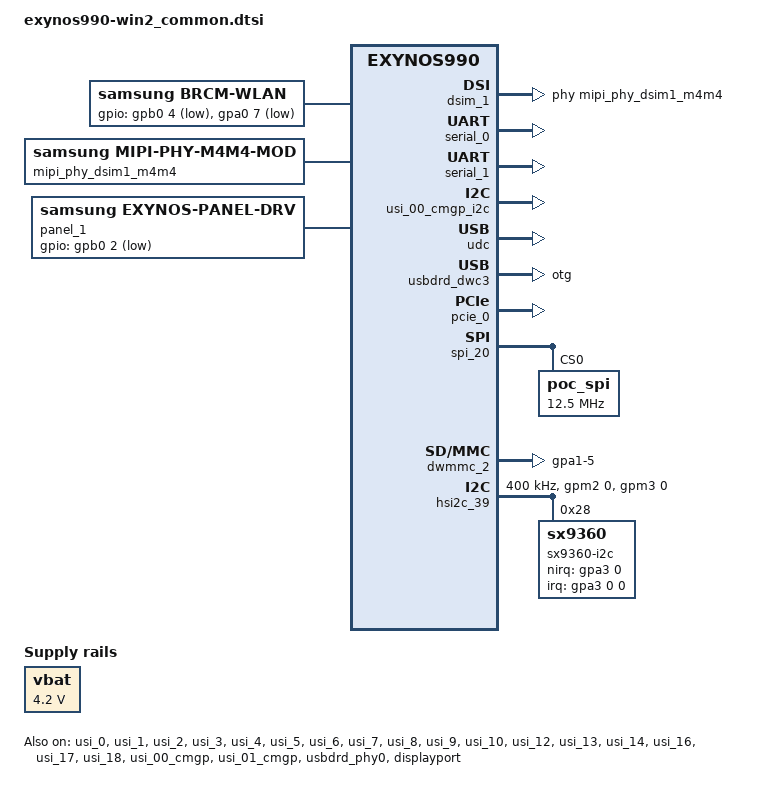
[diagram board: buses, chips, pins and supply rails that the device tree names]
/*
 * SAMSUNG EXYNOS990 board device tree source
 *
 * Copyright (c) 2019 Samsung Electronics Co., Ltd.
 *		http://www.samsung.com
 *
 * This program is free software; you can redistribute it and/or modify
 * it under the terms of the GNU General Public License version 2 as
 * published by the Free Software Foundation.
*/

#include <dt-bindings/clock/exynos9830.h>
#include "battery_data_hubble_common.dtsi"
#include "exynos9830-universal9830_if-pmic-max77705.dtsi"
#include <dt-bindings/pci/pci.h>
//#include "exynos9830-picasso2_camera.dtsi"
#include "exynos9830-picasso2lte_mst_r00.dtsi"
#include "exynos9830-win2_sound.dtsi"
#include "exynos9830-win2_input_common.dtsi"
#include "exynos9830-hubble_vib.dtsi"
#include <dt-bindings/interrupt-controller/arm-gic.h>
#include <dt-bindings/interrupt-controller/exynos9830.h>
#include <dt-bindings/display/exynos-display.h>
#include <dt-bindings/clock/exynos9830.h>
#include "../exynos/exynos9830-display-lcd.dtsi"

/ {
	compatible = "samsung,exynos990", "samsung,UNIVERSAL990";

	fragment@model {
		target-path = "/";

		__overlay__ {
			#address-cells = <2>;
			#size-cells = <1>;

			fixed-rate-clocks {
				oscclk {
					compatible = "samsung,exynos9830-oscclk";
					clock-frequency = <26000000>;
				};
			};

			exynos_rgt {
				compatible = "samsung,exynos-rgt";
				num-acpm-pmic = <2>;
			};

			exynos_pm_dvs {
				compatible = "samsung,exynos-pm-dvs";
				vdd_lldo1 {
					regulator_name = "m_vdd_buck9";
					suspend_volt = <800000>;
					init_volt = <850000>;
					volt_range_step = <62500>;
				};

				vdd_lldo2 {
					regulator_name = "m_vdd_buck10";
					suspend_volt = <900000>;
					init_volt = <950000>;
					volt_range_step = <62500>;
				};

				vdd_lldo3 {
					regulator_name = "m_vdd_buck11";
					suspend_volt = <1250000>;
					init_volt = <1350000>;
					volt_range_step = <62500>;
				};
				vdd_mldo {
					regulator_name = "m_vdd_buck12";
					suspend_volt = <1850000>;
					init_volt = <2000000>;
					volt_range_step = <12500>;
				};
			};

			usb_hs_tune:hs_tune {
				status = "disabled";
				hs_tune_cnt = <5>;
				/* value = <device host> */
				hs_tune1 {
					tune_name = "tx_pre_emp";
					tune_value = <0x3 0x3>;
				};

				hs_tune2 {
					tune_name = "tx_vref";
					tune_value = <0xe 0xe>;
				};

				hs_tune3 {
					tune_name = "rx_sqrx";
					tune_value = <0x4 0x4>;
				};

				hs_tune4 {
					tune_name = "utmi_clk";
					tune_value = <0x1 0x1>;
				};

				hs_tune5 {
					tune_name = "compdis";
					tune_value = <0x7 0x7>;
				};
			};

			usb_ss_tune:ss_tune {
				status = "disabled";
				ss_tune_cnt = <36>;
				/* value = <device host> */
				/* 0xffffffff means using default value */
				ss_tune1 {
					tune_name = "ssrx_sqhs_th_ss";
					tune_value = <0xffffffff 0xffffffff>;
				};

				ss_tune2 {
					tune_name = "ssrx_sqhs_th_ssp";
					tune_value = <0xffffffff 0xffffffff>;
				};

				ss_tune3 {
					tune_name = "ssrx_lfps_th";
					tune_value = <0xffffffff 0xffffffff>;
				};

				ss_tune4 {
					tune_name = "ssrx_adap_coef_sel";
					tune_value = <0xffffffff 0xffffffff>;
				};

				ss_tune5 {
					tune_name = "ssrx_mf_eq_psel_ctrl_ss";
					tune_value = <0xffffffff 0xffffffff>;
				};

				ss_tune6 {
					tune_name = "ssrx_mf_eq_psel_ctrl_ssp";
					tune_value = <0xffffffff 0xffffffff>;
				};

				ss_tune7 {
					tune_name = "ssrx_mf_eq_zsel_ctrl_ss";
					tune_value = <0xffffffff 0xffffffff>;
				};

				ss_tune8 {
					tune_name = "ssrx_mf_eq_zsel_ctrl_ssp";
					tune_value = <0xffffffff 0xffffffff>;
				};

				ss_tune9 {
					tune_name = "ssrx_hf_eq_rsel_ctrl_ss";
					tune_value = <0xffffffff 0xffffffff>;
				};

				ss_tune10 {
					tune_name = "ssrx_hf_eq_rsel_ctrl_ssp";
					tune_value = <0xffffffff 0xffffffff>;
				};

				ss_tune11 {
					tune_name = "ssrx_hf_eq_csel_ctrl_ss";
					tune_value = <0xffffffff 0xffffffff>;
				};

				ss_tune12 {
					tune_name = "ssrx_hf_eq_csel_ctrl_ssp";
					tune_value = <0xffffffff 0xffffffff>;
				};

				ss_tune13 {
					tune_name = "ssrx_dfe_1tap_ctrl_ss";
					tune_value = <0xffffffff 0xffffffff>;
				};

				ss_tune14 {
					tune_name = "ssrx_dfe_1tap_ctrl_ssp";
					tune_value = <0xffffffff 0xffffffff>;
				};

				ss_tune15 {
					tune_name = "ssrx_dfe_2tap_ctrl_ss";
					tune_value = <0xffffffff 0xffffffff>;
				};

				ss_tune16 {
					tune_name = "ssrx_dfe_2tap_ctrl_ssp";
					tune_value = <0xffffffff 0xffffffff>;
				};

				ss_tune17 {
					tune_name = "ssrx_dfe_3tap_ctrl_ss";
					tune_value = <0xffffffff 0xffffffff>;
				};

				ss_tune18 {
					tune_name = "ssrx_dfe_3tap_ctrl_ssp";
					tune_value = <0xffffffff 0xffffffff>;
				};

				ss_tune19 {
					tune_name = "ssrx_dfe_4tap_ctrl_ss";
					tune_value = <0xffffffff 0xffffffff>;
				};

				ss_tune20 {
					tune_name = "ssrx_dfe_4tap_ctrl_ssp";
					tune_value = <0xffffffff 0xffffffff>;
				};

				ss_tune21 {
					tune_name = "ssrx_dfe_5tap_ctrl_ss";
					tune_value = <0xffffffff 0xffffffff>;
				};

				ss_tune22 {
					tune_name = "ssrx_dfe_5tap_ctrl_ssp";
					tune_value = <0xffffffff 0xffffffff>;
				};

				ss_tune23 {
					tune_name = "ssrx_term_cal";
					tune_value = <0xffffffff 0xffffffff>;
				};

				ss_tune24 {
					tune_name = "sstx_amp_ss";
					tune_value = <0xffffffff 0xffffffff>;
				};

				ss_tune25 {
					tune_name = "sstx_deemp_ss";
					tune_value = <0xffffffff 0xffffffff>;
				};

				ss_tune26 {
					tune_name = "sstx_pre_shoot_ss";
					tune_value = <0xffffffff 0xffffffff>;
				};

				ss_tune27 {
					tune_name = "sstx_amp_ssp";
					tune_value = <0xffffffff 0xffffffff>;
				};

				ss_tune28 {
					tune_name = "sstx_deemp_ssp";
					tune_value = <0xffffffff 0xffffffff>;
				};

				ss_tune29 {
					tune_name = "sstx_pre_shoot_ssp";
					tune_value = <0xffffffff 0xffffffff>;
				};

				ss_tune30 {
					tune_name = "sstx_idrv_up";
					tune_value = <0xffffffff 0xffffffff>;
				};

				ss_tune31 {
					tune_name = "sstx_lfps_idrv_up";
					tune_value = <0xffffffff 0xffffffff>;
				};

				ss_tune32 {
					tune_name = "sstx_up_term";
					tune_value = <0xffffffff 0xffffffff>;
				};

				ss_tune33 {
					tune_name = "sstx_dn_term";
					tune_value = <0xffffffff 0xffffffff>;
				};

				ss_tune34 {
					tune_name = "rext_ovrd";
					tune_value = <0xffffffff 0xffffffff>;
				};

				ss_tune35 {
					tune_name = "ssrx_cdr_fbb_fine_ctrl_sp";
					tune_value = <0xffffffff 0xffffffff>;
				};

				ss_tune36 {
					tune_name = "ssrx_cdr_fbb_fine_ctrl_ssp";
					tune_value = <0xffffffff 0xffffffff>;
				};
			};

			usb_notifier {
				compatible = "samsung,usb-notifier";
				udc = <&udc>;

				usb-ldocontrol = <4>; /* Exynos9830 */
				disable_host_wakelock;
			};

			wlan {
				compatible = "samsung,brcm-wlan";
				gpios = <&gpb0 4 0x1 /* WLAN_EN */
					&gpa0 7 0x1 /* WLAN HOST WAKE GPIO_0 */>;
				pinctrl-names = "default";
				pinctrl-0 = <&cfg_wlanen &wlan_host_wake>;
				status = "okay";
			};

			vbat: vbat {
				compatible = "regulator-fixed";
				regulator-name = "VBAT";
				regulator-min-microvolt = <4200000>;
				regulator-max-microvolt = <4200000>;
				regulator-boot-on;
			};

			folder_hall {
				status = "okay";
				compatible = "folder_hall";
				pinctrl-names = "default";
				pinctrl-0 = <&folder_hall_irq>;
				folder_hall,gpio_folder = <&gpa0 2 1>;
			};

			certify_hall {
				status = "okay";
				compatible = "certify_hall";
				pinctrl-names = "default";
				pinctrl-0 = <&certify_hall_irq>;
				certify_hall,gpio_certify_cover = <&gpa3 6 1>;
			};

			argos {
				compatible = "samsung,argos";
				#address-cells = <1>;
				/*  The device number should be assigned for each device, e.g. "boot_device_0" and "boot_device_1".
				 * Duplicated number is not allowed. Please refer the below example.
				 */

				/* Table Format
				 * threshold : throughput threshold(Mbps)
				 * big_min : Big Core's minimum frequency lock. 0 means not set,
				 * big_max : Big Core's maximum frequency lock. 0 means not set,
				 * mid_min : Middle Core's minimum frequency lock. 0 means not set,
				 * mid_max : Middle Core's maximum frequency lock. 0 means not set,
				 * lit_min : Little Core's minimum frequency lock. 0 means not set,
				 * lit_max : Little Core's maximum frequency lock. 0 means not set,
				 * mif : MIF frequency lock. 0 means not set,
				 * int : INT frequency lock. 0 means not set,
				 * task_affinity : "enabled" - Set task affinity lock.
				 *	           "disable" - Not set or unlock,
				 *		   Task affinity should be predefined driver's code.
				 * irq_affinity : "enabled" - Set irq affinity lock.
				 *                "disable" - Not set or unlock,
				 *		  IRQ affinity should be predefined driver's code.
				 * hmp_boot : "enabled" - Increase hmp boosting count
				 *            "disable" - Decrease hmp boosting count
				 * pcie_lane : the number of PCIe lanes
				 */

				boot_device_0 {
					net_boost,label="UFS";
					net_boost,node="";
					net_boost,sysnode="/sys/class/scsi_host/host0/transferred_cnt";
					net_boost,table {
						level_0 {
							threshold = <112>; /* Mbps */
							lit_min = <1456000>;
							mif = <1352000>;
						};
						level_1 {
							threshold = <800>; /* Mbps */
							mid_min = <1066000>;
							lit_min = <1456000>;
							mif = <1539000>;
							hmp_boost = "enable";
						};
					};
				};
				boot_device@1 {
					net_boost,label="IPC";
					net_boost,node="rmnet0 rmnet1 rmnet2 rmnet3 rmnet4 rmnet5 rmnet6 rmnet7 umts_dm0";
					net_boost,table {
						level_0 {
							threshold = <100>;
							lit_min = <1053000>;
							mif = <845000>;
						};
						level_1 {
							threshold = <150>;
							lit_min = <1300000>;
							mif = <1014000>;
						};
						level_2 {
							threshold = <200>;
							mid_min = <1352000>;
							lit_min = <1742000>;
							mif = <1794000>;
						};
						level_3 {
							threshold = <250>;
							mid_min = <1898000>;
							lit_min = <1742000>;
							mif = <2093000>;
						};
						level_4 {
							threshold = <700>;
							mid_min = <1898000>;
							lit_min = <1742000>;
							mif = <2093000>;
						};
						level_5 {
							threshold = <800>;
							mid_min = <1898000>;
							lit_min = <1742000>;
							mif = <2093000>;
						};
						level_6 {
							threshold = <1500>;
							mid_min = <1898000>;
							lit_min = <1742000>;
							mif = <2093000>;
						};
						level_7 {
							threshold = <1600>;
							mid_min = <1898000>;
							lit_min = <1742000>;
							mif = <2093000>;
						};
					};
				};
				boot_device@2 {
					net_boost,label="CLAT";
					net_boost,node="clat clat4 v4-rmnet0 v4-rmnet1 v4-rmnet2 v4-rmnet3 v4-rmnet4 v4-rmnet5 v4-rmnet6 v4-rmnet7";
					net_boost,table {
						level_0 {
							threshold = <100>;
							big_min = <1040000>;
							mif = <1014000>;
						};
						level_1 {
							threshold = <150>;
							big_min = <1248000>;
							mif = <1352000>;
						};
						level_2 {
							threshold = <200>;
							big_min = <1456000>;
							mif = <2093000>;
						};
						level_3 {
							threshold = <250>;
							big_min = <1456000>;
							mif = <2093000>;
						};
						level_4 {
							threshold = <700>;
							big_min = <1456000>;
							mif = <2093000>;
						};
						level_5 {
							threshold = <800>;
							big_min = <1456000>;
							mif = <2093000>;
						};
						level_6 {
							threshold = <1500>;
							big_min = <1456000>;
							mif = <2093000>;
						};
						level_7 {
							threshold = <1600>;
							big_min = <1456000>;
							mif = <2093000>;
						};
					};
				};
			};

			mipi_phy_dsim1_m4m4: dphy_m4m4_dsim1@0x190E0000 {
				compatible = "samsung,mipi-phy-m4m4-mod";
				samsung,pmu-syscon = <&pmu_system_controller>;
				isolation = <0x0710>;
				owner = <1>; /* 0: DSI_0 1: DSI_1 */
				#phy-cells = <1>;
			};

			dsim_1: dsim@0x190D0000 {
				compatible = "samsung,exynos9-dsim";
				id = <1>;

				/* DSIM1, DCPHY_M4M4_MOD, DCPHY_M4M4_COMMON */
				reg = <0x0 0x190D0000 0x300>, <0x0 0x190E0900 0x700>, <0x0 0x190E0000 0x100>;
				interrupts = <GIC_SPI INTREQ__DPU_DSIM1 IRQ_TYPE_LEVEL_HIGH>;
				iommus = <&sysmmu_dpu0>, <&sysmmu_dpu1>, <&sysmmu_dpu2>;

				/* clock */
				clock-names = "aclk";
				clocks = <&clock GATE_DPU_DPU>;

				phys = <&mipi_phy_dsim1_m4m4 0>;
				phy-names = "dsim_dphy";
			};

			panel_1: panel_1 {
				compatible = "samsung,exynos-panel-drv";
				id = <1>;
				ddi_id = <0xdddddd>;
				lcd_info = <&s6e3ha8>, <&s6e3ha9>, <&s6e3fa7>;
				gpios = <&gpb0 2 0x1>;
				regulator_3p3v = "fold-s2dos05-ldo4";
				regulator_1p8v = "fold-s2dos05-ldo1";
				regulator_1p6v = "fold-s2dos05-buck1";
			};

			iommu-domain_dpu {
				compatible = "samsung,exynos-iommu-bus";
				#address-cells = <2>;
				#size-cells = <1>;
				ranges;

				domain-clients = <&dsim_0>, <&dsim_1>, <&displayport>, <&dpp_6>;
			};

		}; /* end of __overlay__ */
	}; /* end of fragment */
}; /* end of root */

&serial_0 {
	samsung,uart-logging;
	status = "okay";
};

&serial_1 {
	samsung,uart-logging;
	samsung,uart-panic-log;
	status = "okay";
};

&pinctrl_0 {
	folder_hall_irq: folder-hall-irq {
		samsung,pins = "gpa0-2";
		samsung,pin-function = <0xf>;
		samsung,pin-pud = <0>;
		samsung,pin-drv = <0>;
	};

	certify_hall_irq: certify-hall-irq {
		samsung,pins = "gpa3-6";
		samsung,pin-function = <0xf>;
		samsung,pin-pud = <0>;
		samsung,pin-drv = <0>;
	};

	grip_irq: grip-irq {
		samsung,pins = "gpa3-0";
		samsung,pin-function = <0xf>;
		samsung,pin-pud = <0>;
		samsung,pin-drv = <3>;
	};
};

&fmp_0 {
	exynos,block-type = "sda";
	exynos,fips-block_offset = <5>;
};

&usi_0 {
	usi_v2_mode = "i2c";
	status = "okay";
};

&usi_1 {
	usi_v2_mode = "i2c";
	status = "okay";
};

&usi_2 {
	usi_v2_mode = "i2c";
	status = "okay";
};

&usi_3 {
	usi_v2_mode = "i2c";
	status = "okay";
};

&usi_4 {
	usi_v2_mode = "spi";
	status = "okay";
};

&usi_5 {
	usi_v2_mode = "i2c";
	status = "okay";
};

&usi_6 {
	usi_v2_mode = "spi";
	status = "okay";
};

&usi_7 {
	usi_v2_mode = "i2c";
	status = "okay";
};

&usi_8 {
	usi_v2_mode = "spi";
	status = "okay";
};

&usi_9 {
	usi_v2_mode = "spi";
	status = "okay";
};

&usi_10 {
	usi_v2_mode = "spi";
	status = "okay";
};

&usi_12 {
	usi_v2_mode = "i2c";
	status = "okay";
};

&usi_13 {
	usi_v2_mode = "i2c";
	status = "okay";
};

&usi_14 {
	usi_v2_mode = "spi";
	status = "okay";
};

&usi_16 {
	usi_v2_mode = "uart";
	status = "okay";
};

&usi_17 {
	usi_v2_mode = "i2c";
	status = "okay";
};

&usi_18 {
	usi_v2_mode = "spi";
	status = "okay";
};

&usi_00_cmgp {
	usi_v2_mode = "i2c";
	status = "okay";
};

&usi_00_cmgp_i2c {
	usi_v2_mode = "i2c";
	status = "okay";
};

&usi_01_cmgp {
	usi_v2_mode = "spi";
	status = "okay";
};

&serial_18 {
	pinctrl-0 = <&uart18_bus_dual>;
};

&udc {
	status = "okay";
};

&usbdrd_dwc3 {
	status = "okay";

	dr_mode = "otg";
	maximum-speed = "super-speed-plus";
	snps,quirk-frame-length-adjustment = <0x20>;
	/* snps,u1u2_exitfail_quirk; */
	/* ux_exit_in_px should be defined in MK, LT */
	snps,ux_exit_in_px_quirk;
	/* elastic_buf_mode_quirk should be defined in MK */
	snps,elastic_buf_mode_quirk;
	usb3-lpm-capable;
	snps,usb3_lpm_capable;
	adj-sof-accuracy = <1>;
	/*
	 * dis-u2-freeclk-exists-quirk, dis_u2_susphy_quirk are alternative.
	 * One of them should be selected
	 */
	snps,dis-u2-freeclk-exists-quirk;
	/*snps,dis_u2_susphy_quirk;*/
	samsung,no-extra-delay;
	samsung,force-gen1;
	usb_host_device_timeout = <200>; /* Max value */

	usb_audio_offloading = <1>;
	abox = <&abox>;
	/* check susphy support */
	xhci_l2_support = <1>;
};

&usbdrd_phy0 {
	status = "okay";

	/*
	pinctrl-names = "default";
	pinctrl-0 = <&phy_port>;
	*/
	phy,gpio_phy_port = <&gpm26 0 0x0>;
	hs_tune_param = <&usb_hs_tune>;
	ss_tune_param = <&usb_ss_tune>;
};

&pcie_0 {
	pinctrl-names = "active","idle";
	pinctrl-0 = <&pcie0_clkreq &pcie0_perst &cfg_wlanen &wlan_host_wake>;
	pinctrl-1 = <&pcie0_perst &cfg_wlanen &wlan_host_wake>;
	status = "okay";
	use-sysmmu = "false";
	use-cache-coherency = "false";
	use-msi = "false";
	ep-device-type = <EP_BCM_WIFI>;
	ep-device-name = "WIFI";
};

&pinctrl_1 {
	spi20_input_none:
	spi20-input-none {
		samsung,pins = "gpm4-0", "gpm5-0", "gpm6-0", "gpm7-0";
		samsung,pin-function = <0>;
		samsung,pin-pud = <0>;
		samsung,pin-drv = <0>;
	};
};

&spi_20 {
	#address-cells = <1>;
	#size-cells = <0>;
	status = "okay";
	pinctrl-names = "default", "idle";
	pinctrl-0 = <&spi20_bus &spi20_cs_func>;
	pinctrl-1 = <&spi20_input_none>;
	num-cs = <1>;
	poc_spi@0 {
		compatible = "poc_spi";
		reg = <0x0>;
		spi-max-frequency = <12500000>;
		bits-per-word = <8>;
		controller-data {
			cs-gpio = <&gpm7 0 0>;
			samsung,spi-chip-select-mode = <0>;
			samsung,spi-feedback-delay = <0>;
		};
	};
};

&pinctrl_1 {
	disp_det_ctrl:	disp-det-ctrl {
		samsung,pins = "gpm17-0";
		samsung,pin-pud = <0>;
	};
};

&panel_drv_0 {
    status = "okay";
	ddi_info = <&s6e3xa0>;

	#address-cells = <2>;
	#size-cells = <1>;
	ranges;
	pinctrl-names = "default";
	pinctrl-0 = <&disp_det_ctrl>;

	gpios {
		disp-reset {
			name = "disp-reset";
			gpios = <&gpa3 4 1>;	/* ACTIVE_LOW */
			dir = <0>;  /* OUT */
			irq-type = <0x0>;   /* NONE */
		};

		disp-det {
			name = "disp-det";
			gpios = <&gpm17 0 1>;  /* 0:OK, 1:NOK(active) */
			dir = <1>;  /* IN */
			irq-type = <0x2>;   /* FALLING EDGE */
			irq-pend {
				reg = <0x0 0x15850A34 0x0>;
				bit = <0x2>;
			};
		};
	};

	regulators {
		ddi-vci {
			regulator = <&dp_ldo4>;
			def-voltage = <3000000>;
			lpm-voltage = <3000000>;
		};

		ddi-vdd3 {
			regulator = <&dp_ldo1>;
			def-voltage = <1800000>;
			lpm-voltage = <1800000>;
		};

		ddr-vddr {
			regulator = <&dp_buck>;
			def-voltage = <1600000>;
			lpm-voltage = <1500000>;
		};

//		short-detect {
//			regulator = <&dp_elvss>;
//			def-current = <2000>;
//			lpm-current = <8000>;
//		};
	};
	panel-lookup {
		panel-name = "s6e3xa0_win2_a3_s0_default";
		panel-ddi-info = <&s6e3xa0>;
		panel-lut = <
			0x000000 0x000000 0x0 0x0  /* default */
		>;
	};
};

&decon_f {
	compatible = "samsung,exynos9-decon";
	#pb-id-cells = <4>;
	reg = <0x0 0x19050000 0x10000>;

	/* interrupt num : FRAME_START, FRMAE_DONE, EXTRA, GPIO_PERIC1(EXT_INT_TE: GPD0[0]) */
	interrupts = <GIC_SPI INTREQ__DPU_DECON0_FRAME_START IRQ_TYPE_LEVEL_HIGH>,
		     <GIC_SPI INTREQ__DPU_DECON0_FRAME_DONE IRQ_TYPE_LEVEL_HIGH>,
		     <GIC_SPI INTREQ__DPU_DECON0_EXTRA IRQ_TYPE_LEVEL_HIGH>,
		     <GIC_SPI INTREQ__GPIO_PERIC1 IRQ_TYPE_LEVEL_HIGH>;

	/* pinctrl */

	pinctrl-names = "hw_te_on", "hw_te_off";
	pinctrl-0 = <&decon_f_te_on>;
	pinctrl-1 = <&decon_f_te_off>;

	max_win = <6>;
	default_win = <4>;
	default_ch = <0>;
	psr_mode = <2>;         /* 0: video mode, 1: DP command mode, 2: MIPI command mode */
	trig_mode = <0>;        /* 0: hw trigger, 1: sw trigger */
	dsi_mode = <0>;         /* 0: single dsi, 1: dual dsi */

	/* 0: DSI, 1: eDP, 2:HDMI, 3: WB */
	out_type = <0>;
	/* 0: DSI0, 1: DSI1, 2: DSI2 */
	out_idx = <0>;

	/* pixel per clock */
	ppc = <2>;
	line_mem_cnt = <4>;
	cycle_per_line = <8>;   /* 4ppc */

	chip_ver = <9830>;

	dpp_cnt = <7>;
	dsim_cnt = <2>;
	decon_cnt = <3>;
	cursor_margin = <5>;

	#address-cells = <2>;
	#size-cells = <1>;
	ranges;

	/* EINT for TE */
	 gpios = <&gpc0 4 0xf>;
	/* sw te pending register */
	te_eint {
		/* NWEINT_GPC0_PEND */
		reg = <0x0 0x10730a14 0x4>;
	};
};

&decon_s {
	compatible = "samsung,exynos9-decon";
	#pb-id-cells = <4>;
	reg = <0x0 0x19060000 0x10000>;

	/* interrupt num : FRAME_START, FRMAE_DONE, EXTRA */
	interrupts = <GIC_SPI INTREQ__DPU_DECON1_FRAME_START IRQ_TYPE_LEVEL_HIGH>,
		     <GIC_SPI INTREQ__DPU_DECON1_FRAME_DONE IRQ_TYPE_LEVEL_HIGH>,
		     <GIC_SPI INTREQ__DPU_DECON1_EXTRA IRQ_TYPE_LEVEL_HIGH>,
		     <GIC_SPI INTREQ__GPIO_PERIC1 IRQ_TYPE_LEVEL_HIGH>;

	/* pinctrl */
	pinctrl-names = "hw_te_on", "hw_te_off";
	pinctrl-0 = <&decon_s_te_on>;
	pinctrl-1 = <&decon_s_te_off>;

	max_win = <6>;
	default_win = <5>;
	default_ch = <3>;
	psr_mode = <2>;         /* 0: video mode, 1: DP command mode, 2: MIPI command mode */
	trig_mode = <0>;        /* 0: hw trigger, 1: sw trigger */
	dsi_mode = <0>;         /* 0: single dsi, 1: dual dsi */

	/* 0: DSI, 1: eDP, 2:DP */
	out_type = <0>;
	/* 0: DSI0, 1: DSI1, 2: DSI2 */
	out_idx = <1>;

	/* pixel per clock */
	ppc = <2>;
	line_mem_cnt = <4>;
	cycle_per_line = <8>;   /* 4ppc */

	chip_ver = <9830>;

	dpp_cnt = <7>;
	dsim_cnt = <2>;
	decon_cnt = <3>;
	cursor_margin = <40>;

	#address-cells = <2>;
	#size-cells = <1>;
	ranges;

	/* EINT for TE */
	gpios = <&gpc0 5 0xf>;
	/* sw te pending register */
	te_eint {
		/* NWEINT_GPC0_PEND */
		reg = <0x0 0x10730a14 0x5>;
	};
};
&pinctrl_0 {
	dwmmc2_cd_ext_irq: dwmmc2_cd_ext_irq {
		samsung,pins = "gpa1-5";
		samsung,pin-function = <0xf>;
		samsung,pin-pud = <0>;
		samsung,pin-drv = <4>;
	};
};

&ufs {
	/* board type for UFS CAL */
	brd-for-cal = /bits/ 8 <16>;  /* (1:SMDK, 16:UNIV) board */

};

&dwmmc_2 {
	#address-cells = <2>;
	#size-cells = <1>;
	status = "okay";
	num-slots = <1>;
	supports-4bit;
	supports-cmd23;
	supports-erase;
	supports-highspeed;
	sd-uhs-sdr50;
	sd-uhs-sdr104;
	card-detect-gpio;
	bypass-for-allpass;
	use-fine-tuning;
	card-init-hwacg-ctrl;
	skip-init-mmc-scan;
	fifo-depth = <0x40>;
	qos_dvfs_level = <400000>;
	desc-size = <4>;
	ssc-rate = <3>;
	card-detect-delay = <200>;
	data-timeout = <200>;
	hto-timeout = <80>;
	samsung,dw-mshc-ciu-div = <3>;
	clock-frequency = <800000000>;
	samsung,dw-mshc-sdr-timing = <3 0 2 0>;
	samsung,dw-mshc-ddr-timing = <3 0 2 1>;
	samsung,dw-mshc-sdr50-timing = <3 0 4 2>;
	samsung,dw-mshc-sdr104-timing = <3 0 3 0>;

	num-ref-clks = <9>;
	ciu_clkin = <25 50 50 25 50 100 200 50 50>;

	/* Swapping clock drive strength */
	clk-drive-number = <6>;
	pinctrl-names = "default",
		"fast-slew-rate-1x",
		"fast-slew-rate-1_5x",
		"fast-slew-rate-2x",
		"fast-slew-rate-2_5x",
		"fast-slew-rate-3x",
		"fast-slew-rate-4x",
		"pins-as-pdn",
		"pins-as-func";
	pinctrl-0 = <&sd2_clk &sd2_cmd &sd2_bus1 &sd2_bus4 &dwmmc2_cd_ext_irq>;
	pinctrl-1 = <&sd2_clk_fast_slew_rate_1x>;
	pinctrl-2 = <&sd2_clk_fast_slew_rate_1_5x>;
	pinctrl-3 = <&sd2_clk_fast_slew_rate_2x>;
	pinctrl-4 = <&sd2_clk_fast_slew_rate_2_5x>;
	pinctrl-5 = <&sd2_clk_fast_slew_rate_3x>;
	pinctrl-6 = <&sd2_clk_fast_slew_rate_4x>;
	pinctrl-7 = <&sd2_pins_as_pdn>;
	pinctrl-8 = <&sd2_clk &sd2_cmd &sd2_bus1 &sd2_bus4>;

	card-detect = <&gpa1 5 0xf>;
	sec-sd-slot-type = <2>; /* Hybrid Tray SD slot */

	slot@0 {
		reg = <0>;
		bus-width = <4>;
		disable-wp;
	};
};

&displayport {
	status = "okay";
	dp,aux_sw_oe = <&expander_gpios 13 0>;
	dp,sbu_sw_sel = <&expander_gpios 12 0>;
	dp,usb_con_sel = <&gpm26 0 0>;

	pinctrl-names = "default";
};

&hsi2c_39 { /* 15D10000 */
	#address-cells = <1>;
	#size-cells = <0>;
	gpios = <&gpm2 0 0 &gpm3 0 0>;
	status = "okay";
	clock-frequency = <400000>;

	sx9360-i2c@28 {
		compatible = "sx9360";
		reg = <0x28>;
		status = "okay";
		pinctrl-names = "default";
		pinctrl-0 = <&grip_irq>;
		interrupt-parent = <&gpa3>;
		interrupts = <0 0 0>;

		sx9360,nirq-gpio = <&gpa3 0 0>;
		sx9360,refresolution_reg = <0x0f>; /* same as resolution_reg */
		sx9360,refagainfreq_reg = <0x36>; /* same as againfreq_reg */
		sx9360,resolution_reg = <0x0f>; /* resolution : 1024 */
		sx9360,againfreq_reg = <0x36>; /* freq : 83.33 kHz, again : +/-5.25 pF */
		sx9360,refgainrawfilt_reg = <0x22>; /* same as gainrawfilt_reg */
		sx9360,gainrawfilt_reg = <0x22>; /* rawfilter : 1-1/4, gain : x8 */
		sx9360,hyst_reg = <0x15>; /* hysteresis : +/-6 %, debouncer : 2 samples */
		sx9360,proxthresh_reg = <0x3C>; /* threshhold : 1800 */
	};
};
